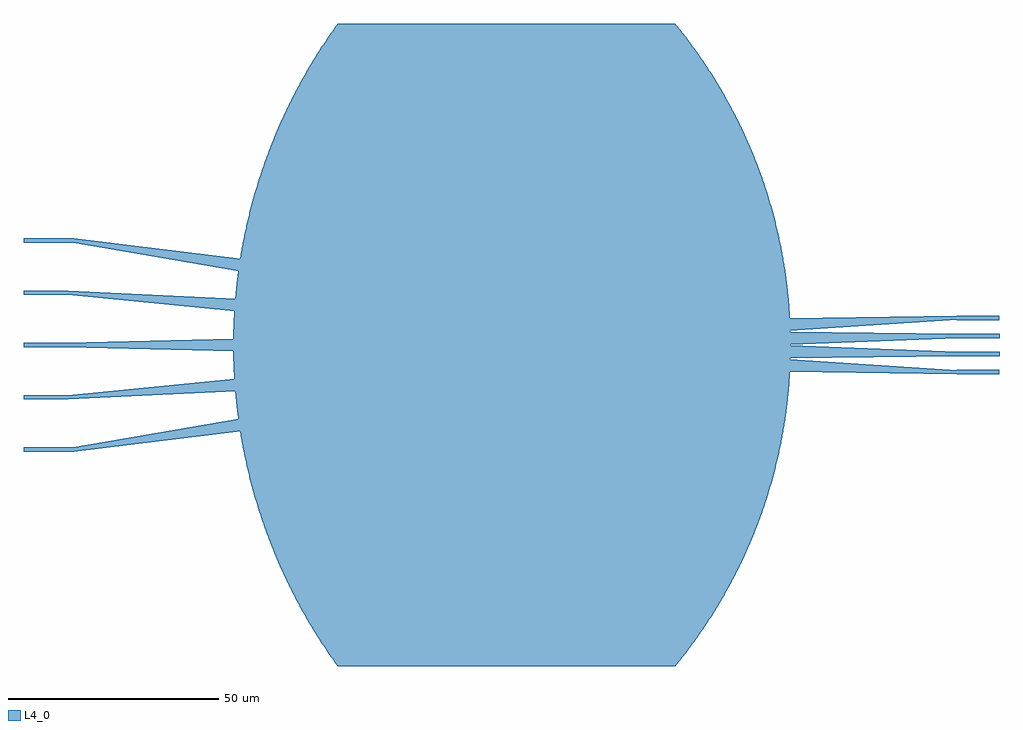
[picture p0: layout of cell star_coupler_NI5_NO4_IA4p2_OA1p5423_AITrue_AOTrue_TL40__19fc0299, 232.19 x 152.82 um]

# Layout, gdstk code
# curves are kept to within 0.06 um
import gdstk
lib = gdstk.Library(unit=1e-6, precision=1e-09)
def R(c, l, rs):  # rectangles x0, y0, x1, y1
    for r in rs: c.add(gdstk.rectangle(r[:2], r[2:], *l))
def P(c, l, *ps):  # polygons
    for p in ps: c.add(gdstk.Polygon(p, *l))
L4_0 = (4, 0)

star_coupler_ni5_no4_ia4 = lib.new_cell('star_coupler_NI5_NO4_IA4p2_OA1p5423_AITrue_AOTrue_TL40__19fc0299')
R(star_coupler_ni5_no4_ia4, L4_0, [(-114.878,-25.348,-102.857,-24.348), (-114.878,-12.958,-104.222,-11.958), (107.193,-6.947,117.193,-5.947), (107.309,-2.65,117.309,-1.65), (-114.878,-0.5,-104.678,0.5), (107.309,1.65,117.309,2.65), (107.193,5.947,117.193,6.947), (-114.878,11.958,-104.222,12.958), (-114.878,24.348,-102.857,25.348)])
P(star_coupler_ni5_no4_ia4, L4_0, [(-40.15,-76.412),(-42.753,-72.695),(-45.224,-68.889),(-47.561,-65),(-49.761,-61.031),(-51.821,-56.988),(-53.739,-52.876),(-55.512,-48.699),(-57.138,-44.463),(-58.615,-40.172),(-59.942,-35.833),(-61.006,-31.89),(-62.042,-27.472),(-62.923,-23.021),(-63.649,-18.542),(-64.266,-13.589),(-64.629,-9.521),(-64.882,-4.99),(-64.977,-0.454),(-64.914,4.083),(-64.692,8.616),(-64.312,13.137),(-63.836,17.193),(-63.157,21.68),(-62.323,26.14),(-61.333,30.568),(-60.189,34.96),(-58.893,39.308),(-57.445,43.609),(-55.849,47.856),(-53.923,52.461),(-52.019,56.58),(-49.973,60.63),(-47.787,64.607),(-45.464,68.504),(-42.753,72.695),(-40.15,76.412),(40.15,76.412),(40.15,-76.412),(40.15,76.412),(42.732,73.174),(45.467,69.473),(48.059,65.671),(50.265,62.166),(52.573,58.185),(54.519,54.529),(56.531,50.39),(58.205,46.602),(59.747,42.758),(61.304,38.428),(62.694,34.041),(63.8,30.05),(64.867,25.573),(65.761,21.059),(66.417,16.97),(66.98,12.403),(67.368,7.818),(67.567,3.681),(67.62,-0.92),(67.516,-5.061),(67.234,-9.654),(66.83,-13.776),(66.284,-17.881),(65.511,-22.417),(64.565,-26.921),(63.566,-30.94),(62.429,-34.923),(61.006,-39.299),(59.416,-43.617),(57.844,-47.449),(55.944,-51.64),(53.884,-55.755),(50.974,-60.981),(47.552,-66.439),(44.117,-71.337),(40.15,-76.412),(-40.15,-76.412),(-40.15,76.412)],
  [(107.273,-6.95),(67.265,-6.335),(67.386,-3.337),(107.313,-5.951)],
  [(67.392,-3.112),(67.433,-0.112),(107.415,-1.651),(107.402,-2.651)],
  [(67.433,0.112),(67.392,3.112),(107.402,2.651),(107.415,1.651)],
  [(67.386,3.337),(67.265,6.335),(107.273,6.95),(107.313,5.951)],
  [(-102.883,-25.358),(-103.029,-24.369),(-63.604,-17.536),(-63.166,-20.504)],
  [(-104.285,-12.964),(-104.358,-11.966),(-64.539,-8.04),(-64.319,-11.032)],
  [(-64.778,-1.5),(-104.778,-0.5),(-104.778,0.5),(-64.778,1.5)],
  [(-64.539,8.04),(-104.358,11.966),(-104.285,12.964),(-64.319,11.032)],
  [(-63.604,17.536),(-103.029,24.369),(-102.883,25.358),(-63.166,20.504)])

lib.write_gds('star_coupler_NI5_NO4_IA4p2_OA1p5423_AITrue_AOTrue_TL40__19fc0299.gds')
